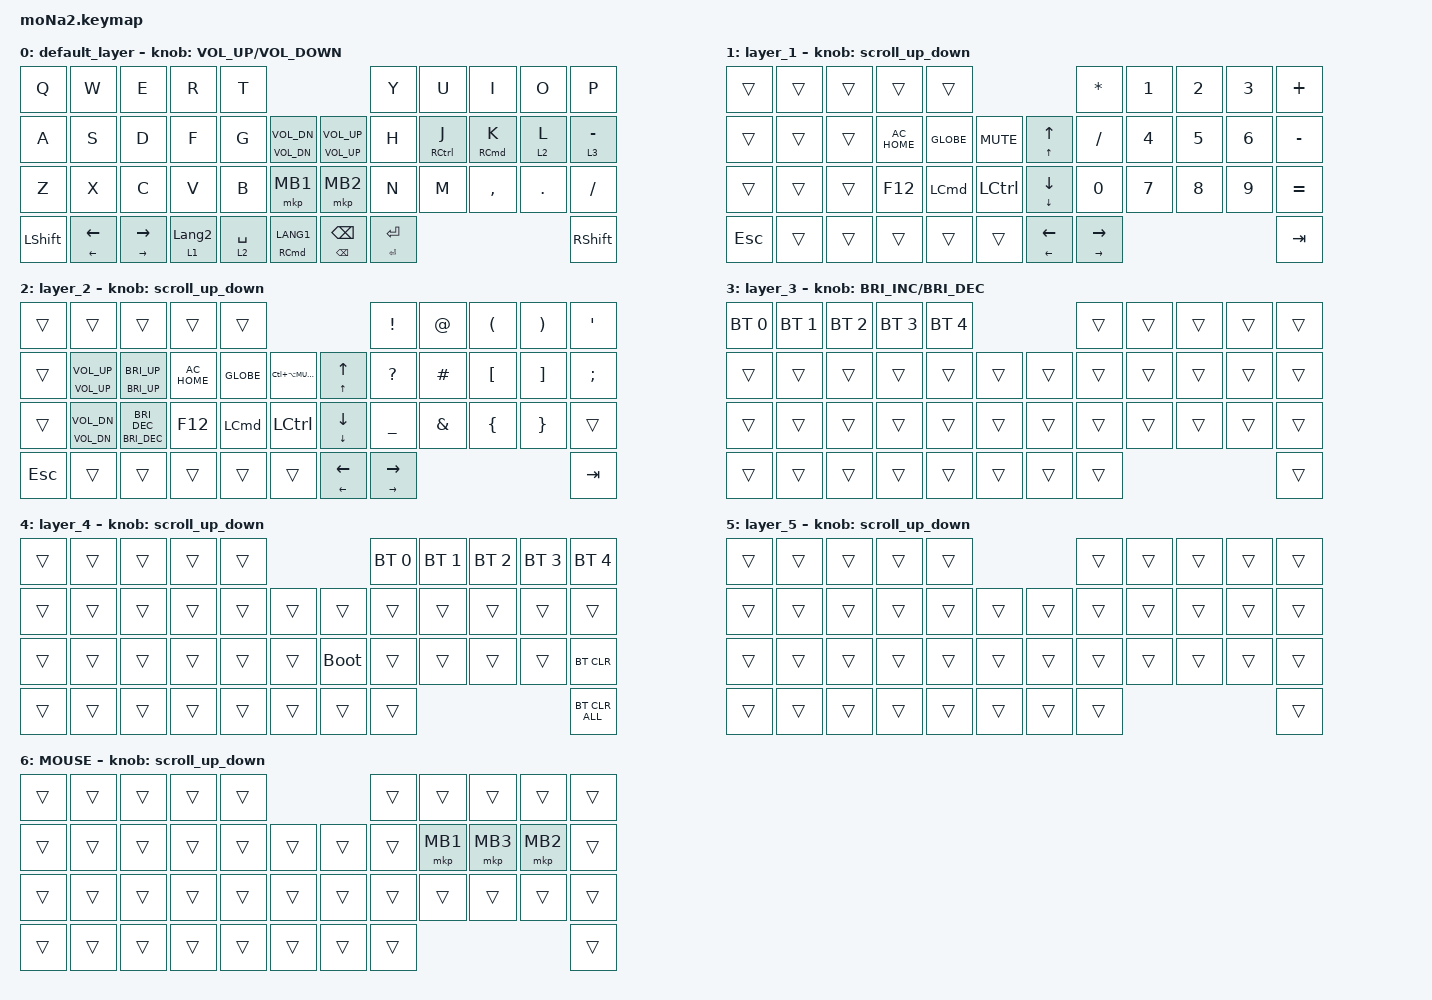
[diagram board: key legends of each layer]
#include <behaviors.dtsi>
#include <dt-bindings/zmk/bt.h>
#include <dt-bindings/zmk/keys.h>
#include <dt-bindings/zmk/pointing.h>

#define ZMK_POINTING_DEFAULT_SCRL_VAL 100
#define MOUSE 6

&mt {
    flavor = "balanced";
    quick-tap-ms = <0>;
};

/ {
    combos { compatible = "zmk,combos"; };

    macros {
        to_layer_0: to_layer_0 {
            compatible = "zmk,behavior-macro-one-param";
            #binding-cells = <1>;
            bindings = <&to 0 &macro_param_1to1 &kp MACRO_PLACEHOLDER>;
            label = "TO_LAYER_0";
        };
    };

    behaviors {
        lt_to_layer_0: lt_to_layer_0 {
            compatible = "zmk,behavior-hold-tap";
            label = "LAYER_TAP_TO_0";
            bindings = <&mo>, <&to_layer_0>;

            #binding-cells = <2>;
            tapping-term-ms = <200>;
        };

        scroll_up_down: behavior_sensor_rotate_mouse_wheel_up_down {
            compatible = "zmk,behavior-sensor-rotate";
            #sensor-binding-cells = <0>;
            bindings = <&msc SCRL_UP>, <&msc SCRL_DOWN>;

            tap-ms = <20>;
        };
    };

    keymap {
        compatible = "zmk,keymap";

        default_layer {
            bindings = <
&kp Q           &kp W                      &kp E                        &kp R             &kp T                                                            &kp Y            &kp U                &kp I                &kp O    &kp P
&kp A           &kp S                      &kp D                        &kp F             &kp G        &mt C_VOL_DN C_VOL_DN      &mt C_VOL_UP C_VOL_UP    &kp H            &mt RIGHT_CONTROL J  &mt RIGHT_COMMAND K  &lt 2 L  &lt 3 MINUS
&kp Z           &kp X                      &kp C                        &kp V             &kp B        &mkp MB1                   &mkp MB2                 &kp N            &kp M                &kp COMMA            &kp DOT  &kp SLASH
&kp LEFT_SHIFT  &mt LEFT_ARROW LEFT_ARROW  &mt RIGHT_ARROW RIGHT_ARROW  &lt 1 LANGUAGE_2  &lt 2 SPACE  &mt RIGHT_COMMAND LANG1    &mt BACKSPACE BACKSPACE  &mt ENTER ENTER                                                     &kp RIGHT_SHIFT
            >;

            sensor-bindings = <&inc_dec_kp C_VOLUME_UP C_VOLUME_DOWN>;
        };

        layer_1 {
            bindings = <
&trans      &trans  &trans  &trans         &trans                                                           &kp ASTERISK                 &kp NUMBER_1  &kp NUMBER_2  &kp NUMBER_3  &kp PLUS
&trans      &trans  &trans  &kp C_AC_HOME  &kp GLOBE         &kp K_MUTE          &mt UP_ARROW UP_ARROW      &kp SLASH                    &kp NUMBER_4  &kp N5        &kp NUMBER_6  &kp MINUS
&trans      &trans  &trans  &kp F12        &kp LEFT_COMMAND  &kp LEFT_CONTROL    &mt DOWN_ARROW DOWN_ARROW  &kp N0                       &kp N7        &kp N8        &kp N9        &kp EQUAL
&kp ESCAPE  &trans  &trans  &trans         &trans            &trans              &mt LEFT_ARROW LEFT_ARROW  &mt RIGHT_ARROW RIGHT_ARROW                                            &kp TAB
            >;

            sensor-bindings = <&scroll_up_down>;
        };

        layer_2 {
            bindings = <
&trans      &trans                       &trans                   &trans         &trans                                                             &kp EXCLAMATION              &kp AT_SIGN    &kp LEFT_PARENTHESIS  &kp RIGHT_PARENTHESIS  &kp SQT
&trans      &mt C_VOLUME_UP C_VOLUME_UP  &mt C_BRI_UP C_BRI_UP    &kp C_AC_HOME  &kp GLOBE         &kp LC(LA(K_MUTE))    &mt UP_ARROW UP_ARROW      &kp QUESTION                 &kp HASH       &kp LEFT_BRACKET      &kp RIGHT_BRACKET      &kp SEMICOLON
&trans      &mt C_VOL_DN C_VOL_DN        &mt C_BRI_DEC C_BRI_DEC  &kp F12        &kp LEFT_COMMAND  &kp LEFT_CONTROL      &mt DOWN_ARROW DOWN_ARROW  &kp UNDERSCORE               &kp AMPERSAND  &kp LEFT_BRACE        &kp RIGHT_BRACE        &trans
&kp ESCAPE  &trans                       &trans                   &trans         &trans            &trans                &mt LEFT_ARROW LEFT_ARROW  &mt RIGHT_ARROW RIGHT_ARROW                                                              &kp TAB
            >;

            sensor-bindings = <&scroll_up_down>;
        };

        layer_3 {
            bindings = <
&bt BT_SEL 0  &bt BT_SEL 1  &bt BT_SEL 2  &bt BT_SEL 3  &bt BT_SEL 4                    &trans  &trans  &trans  &trans  &trans
&trans        &trans        &trans        &trans        &trans        &trans    &trans  &trans  &trans  &trans  &trans  &trans
&trans        &trans        &trans        &trans        &trans        &trans    &trans  &trans  &trans  &trans  &trans  &trans
&trans        &trans        &trans        &trans        &trans        &trans    &trans  &trans                          &trans
            >;

            sensor-bindings = <&inc_dec_kp C_BRIGHTNESS_INC C_BRI_DEC>;
        };

        layer_4 {
            bindings = <
&trans  &trans  &trans  &trans  &trans                         &bt BT_SEL 0  &bt BT_SEL 1  &bt BT_SEL 2  &bt BT_SEL 3  &bt BT_SEL 4
&trans  &trans  &trans  &trans  &trans  &trans    &trans       &trans        &trans        &trans        &trans        &trans
&trans  &trans  &trans  &trans  &trans  &trans    &bootloader  &trans        &trans        &trans        &trans        &bt BT_CLR
&trans  &trans  &trans  &trans  &trans  &trans    &trans       &trans                                                  &bt BT_CLR_ALL
            >;

            sensor-bindings = <&scroll_up_down>;
        };

        layer_5 {
            bindings = <
&trans  &trans  &trans  &trans  &trans                    &trans  &trans  &trans  &trans  &trans
&trans  &trans  &trans  &trans  &trans  &trans    &trans  &trans  &trans  &trans  &trans  &trans
&trans  &trans  &trans  &trans  &trans  &trans    &trans  &trans  &trans  &trans  &trans  &trans
&trans  &trans  &trans  &trans  &trans  &trans    &trans  &trans                          &trans
            >;

            sensor-bindings = <&scroll_up_down>;
        };

        MOUSE {
            bindings = <
&trans  &trans  &trans  &trans  &trans                    &trans  &trans    &trans    &trans    &trans
&trans  &trans  &trans  &trans  &trans  &trans    &trans  &trans  &mkp MB1  &mkp MB3  &mkp MB2  &trans
&trans  &trans  &trans  &trans  &trans  &trans    &trans  &trans  &trans    &trans    &trans    &trans
&trans  &trans  &trans  &trans  &trans  &trans    &trans  &trans                                &trans
            >;

            sensor-bindings = <&scroll_up_down>;
        };
    };
};
